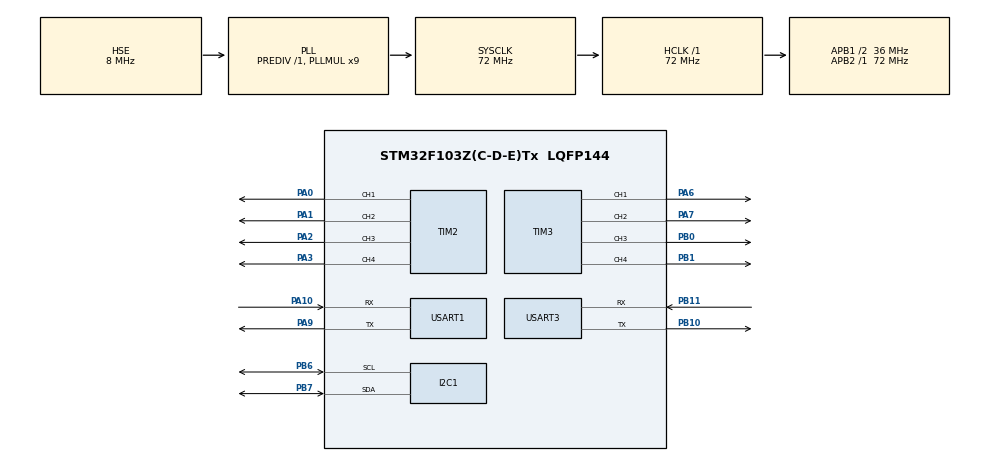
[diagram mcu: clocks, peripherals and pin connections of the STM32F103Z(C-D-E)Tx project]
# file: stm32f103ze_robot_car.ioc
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FREERTOS.Tasks01=defaultTask,0,128,StartDefaultTask,Default,NULL,Dynamic,NULL,NULL
Mcu.Family=STM32F1
Mcu.Name=STM32F103Z(C-D-E)Tx
Mcu.Package=LQFP144
NVIC.PriorityGroup=NVIC_PRIORITYGROUP_4
OSC_IN.Mode=HSE-External-Oscillator
OSC_IN.Signal=RCC_OSC_IN
OSC_OUT.Mode=HSE-External-Oscillator
OSC_OUT.Signal=RCC_OSC_OUT
PA0-WKUP.Signal=S_TIM2_CH1_ETR
PA1.Signal=S_TIM2_CH2
PA10.Mode=Asynchronous
PA10.Signal=USART1_RX
PA2.Signal=S_TIM2_CH3
PA3.Signal=S_TIM2_CH4
PA6.Signal=S_TIM3_CH1
PA7.Signal=S_TIM3_CH2
PA9.Mode=Asynchronous
PA9.Signal=USART1_TX
PB0.Signal=S_TIM3_CH3
PB1.Signal=S_TIM3_CH4
PB10.Mode=Asynchronous
PB10.Signal=USART3_TX
PB11.Mode=Asynchronous
PB11.Signal=USART3_RX
PB6.Mode=I2C
PB6.Signal=I2C1_SCL
PB7.Mode=I2C
PB7.Signal=I2C1_SDA
ProjectManager.HeapSize=0x200
ProjectManager.StackSize=0x400
ProjectManager.TargetToolchain=MDK-ARM V5.32
RCC.AHBFreq_Value=72000000
RCC.APB1CLKDivider=RCC_HCLK_DIV2
RCC.APB1Freq_Value=36000000
RCC.APB1TimFreq_Value=72000000
RCC.APB2Freq_Value=72000000
RCC.APB2TimFreq_Value=72000000
RCC.HCLKFreq_Value=72000000
RCC.PLLMUL=RCC_PLL_MUL9
RCC.PLLSourceVirtual=RCC_PLLSOURCE_HSE
RCC.SYSCLKFreq_VALUE=72000000
RCC.SYSCLKSource=RCC_SYSCLKSOURCE_PLLCLK
RCC.USBFreq_Value=72000000
SH.S_TIM2_CH1_ETR.0=TIM2_CH1,PWM Generation1 CH1
SH.S_TIM2_CH2.0=TIM2_CH2,PWM Generation2 CH2
SH.S_TIM2_CH3.0=TIM2_CH3,PWM Generation3 CH3
SH.S_TIM2_CH4.0=TIM2_CH4,PWM Generation4 CH4
SH.S_TIM3_CH1.0=TIM3_CH1,PWM Generation1 CH1
SH.S_TIM3_CH2.0=TIM3_CH2,PWM Generation2 CH2
SH.S_TIM3_CH3.0=TIM3_CH3,PWM Generation3 CH3
SH.S_TIM3_CH4.0=TIM3_CH4,PWM Generation4 CH4
TIM2.Channel-PWM\ Generation1\ CH1=TIM_CHANNEL_1
TIM2.Channel-PWM\ Generation2\ CH2=TIM_CHANNEL_2
TIM2.Channel-PWM\ Generation3\ CH3=TIM_CHANNEL_3
TIM2.Channel-PWM\ Generation4\ CH4=TIM_CHANNEL_4
TIM3.Channel-PWM\ Generation1\ CH1=TIM_CHANNEL_1
TIM3.Channel-PWM\ Generation2\ CH2=TIM_CHANNEL_2
TIM3.Channel-PWM\ Generation3\ CH3=TIM_CHANNEL_3
TIM3.Channel-PWM\ Generation4\ CH4=TIM_CHANNEL_4
USART1.VirtualMode=VM_ASYNC
USART3.VirtualMode=VM_ASYNC
VP_FREERTOS_VS_CMSIS_V1.Mode=CMSIS_V1
board=custom

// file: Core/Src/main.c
/* USER CODE BEGIN Header */
/**
  ******************************************************************************
  * @file           : main.c
  * @brief          : Main program body for STM32+FreeRTOS+Robot
  ******************************************************************************
  */
/* USER CODE END Header */

#include "main.h"
#include "cmsis_os.h"
#include "i2c_hhc.h"
#include "i2c.h"
#include "tim.h"
#include "usart.h"
#include "gpio.h"

#include "usart3.h"
#include "esp8266.h"
#include "sys.h"
#include "motor.h"
#include "encoder.h"
#include "pid.h"
#include "mpu6050.h"
#include "vl53l0x.h"
#include "oled.h"
#include "pca9685.h"
#include "fast_ros.h"
#include "kinematics.h"
#include <string.h>
#include <stdio.h>
#include <math.h>

/* 宏定义 */
#define M_PI                3.14159265f
#define PID_KP              625.0f
#define PID_KI              125.0f
#define PID_KD              0.0f
#define PID_OUT_LIMIT       100
#define ENCODER_PPR         1942        // 编码器每转脉冲数
#define WHEEL_DIAMETER      0.065f      // 车轮直径(m)
#define WHEEL_BASE          0.175f      // 轮距(m)
#define LASER_POINTS        120         // 激光扫描点数
#define MOTOR_MIN_PWM       20          // 电机最小PWM（防止堵转）
#define PCA9685_ADDR        0x40        // PCA9685默认I2C地址
#define SG90_MAX_ANGLE      180
#define SG90_CHANNEL        0

/* 全局变量 */
float laser_buf0[LASER_POINTS];         // 激光扫描缓存1
float laser_buf1[LASER_POINTS];         // 激光扫描缓存2
volatile uint8_t laser_ready = 0;       // 激光数据就绪标志
float laser_pub_buf[LASER_POINTS];      // 激光发布缓存

PID_TypeDef pid_left, pid_right;        // 左右轮PID控制器
float target_vx = 0, target_wz = 0;     // 目标线速度/角速度
float target_left = 0, target_right = 0;// 左右轮目标速度
int scan_angle = 0, scan_dir = 0;       // 扫描角度/方向
float odom_x=0, odom_y=0, yaw_angle=0;  // 里程计位姿
float pwmL=0, pwmR=0;                   // 电机PWM输出
float dist = 0;                         // 激光测距值
nav_msgs__Odometry odom_msg;            // ROS里程计消息
sensor_msgs__LaserScan scan_msg;        // ROS激光扫描消息

static int last_left_tick=0, last_right_tick=0; // 编码器上一次计数值

/* FreeRTOS任务句柄 */
osThreadId laserTaskHandle;
osThreadId motorPidTaskHandle;
osThreadId odomPubTaskHandle;
osThreadId scanPubTaskHandle;
osThreadId cmdRecvTaskHandle;
osThreadId sysInitTaskHandle;

/* FreeRTOS互斥锁 */
osMutexId laserBufMutexHandle;
osMutexId odomDataMutexHandle;
osMutexDef(laserBufMutex);
osMutexDef(odomDataMutex);

/* 函数声明 */
void SystemClock_Config(void);
void MX_FREERTOS_Init(void);
void laserTask(void const * argument);
void motorPidTask(void const * argument);
void odomPubTask(void const * argument);
void scanPubTask(void const * argument);
void cmdRecvTask(void const * argument);
void sysInitTask(void const * argument);
void laser_step(void);
void update_odom(void);

/* 激光扫描步进函数 */
void laser_step(void)
{
    // 获取激光测距值（转换为米）
    dist = VL53L0X_ReadDistance() / 1000.0f;
    printf("dist = %f mm\r\n", dist);
    // 互斥访问激光缓存
    osMutexWait(laserBufMutexHandle, osWaitForever);
    laser_buf0[scan_angle] =dist;// dist;

    // 角度映射：120点对应0~180°
    uint8_t servo_angle = (scan_angle * SG90_MAX_ANGLE) / (LASER_POINTS - 1);

    // 控制舵机扫描方向
    if(scan_dir == 0){ // 正向扫描（0→119）
        SG90_SetAngle(SG90_CHANNEL, servo_angle);
        scan_angle++;
        if(scan_angle >= LASER_POINTS){
            scan_angle = LASER_POINTS -1;
            scan_dir = 1;
            memcpy(laser_buf1, laser_buf0, sizeof(laser_buf0));
            laser_ready = 1; // 数据就绪
        }
    }else{ // 反向扫描（119→0）
        SG90_SetAngle(SG90_CHANNEL, servo_angle);
        scan_angle--;
        if(scan_angle <= 0){
            scan_angle = 0;
            scan_dir = 0;
            memcpy(laser_buf1, laser_buf0, sizeof(laser_buf0));
            laser_ready = 1; // 数据就绪
        }
    }
    osMutexRelease(laserBufMutexHandle);
}

/* 里程计更新函数 */
void update_odom(void)
{
    //osMutexWait(odomDataMutexHandle, osWaitForever);
    int left_tick = Encoder_GetLeft();
    int right_tick = Encoder_GetRight();

    // 运动学更新位姿
    Kinematic_Update(left_tick - last_left_tick,
                     right_tick - last_right_tick,
                     &odom_x, &odom_y, &yaw_angle);

    last_left_tick = left_tick;
    last_right_tick = right_tick;
    //osMutexRelease(odomDataMutexHandle);
}

/**
  * @brief  应用入口函数
  * @retval int
  */
int main(void)
{
  /* 硬件初始化 */
  HAL_Init();
  SystemClock_Config();
  MX_GPIO_Init();
  MX_I2C1_Init();
  MX_TIM2_Init();
  MX_TIM3_Init();
  MX_USART1_UART_Init();
  MX_USART3_UART_Init();

  printf("\r\n===== SYSTEM INIT START =====\r\n");

  /* ESP8266初始化（无线通信） */
//  ESP8266_Init();
//  HAL_Delay(1500);
//	ESP8266_JoinAP();   HAL_Delay(1500);
//	ESP8266_PrintIP();  // 【关键】在透传前执行，此时还能响应AT指令
//	ESP8266_ConnectUDP(); HAL_Delay(1500);
//	ESP8266_OpenTransparent(); HAL_Delay(2500);

	printf("\r\n===== SYSTEM READY =====\r\n");

	  /* 硬件外设初始化 */
  Motor_Init();       printf("Motor Init OK\r\n");
  Encoder_Init();     printf("Encoder Init OK\r\n");
	//Motor_SetSpeed(90, 90);

  /* 初始化FreeRTOS并启动内核 */
  MX_FREERTOS_Init();
	printf("osKernelStart \r\n");
  osKernelStart();

  /* 防止程序跑飞 */
  while (1)
  {

      if(USART3_RX_FLAG)  // 调试：打印ESP8266接收数据
      {
          USART3_RX_FLAG = 0;
          printf("ESP8266 Recv: %s\r\n", USART3_RX_BUF);
          USART3_ClearBuf();
      }
      osDelay(100);
  }
}

/**
  * @brief  系统时钟配置
  * @retval None
  */
void SystemClock_Config(void)
{
  RCC_OscInitTypeDef RCC_OscInitStruct = {0};
  RCC_ClkInitTypeDef RCC_ClkInitStruct = {0};

  RCC_OscInitStruct.OscillatorType = RCC_OSCILLATORTYPE_HSE;
  RCC_OscInitStruct.HSEState = RCC_HSE_ON;
  RCC_OscInitStruct.HSEPredivValue = RCC_HSE_PREDIV_DIV1;
  RCC_OscInitStruct.HSIState = RCC_HSI_ON;
  RCC_OscInitStruct.PLL.PLLState = RCC_PLL_ON;
  RCC_OscInitStruct.PLL.PLLSource = RCC_PLLSOURCE_HSE;
  RCC_OscInitStruct.PLL.PLLMUL = RCC_PLL_MUL9;
  if (HAL_RCC_OscConfig(&RCC_OscInitStruct) != HAL_OK)
  {
    Error_Handler();
  }

  RCC_ClkInitStruct.ClockType = RCC_CLOCKTYPE_HCLK|RCC_CLOCKTYPE_SYSCLK
                              |RCC_CLOCKTYPE_PCLK1|RCC_CLOCKTYPE_PCLK2;
  RCC_ClkInitStruct.SYSCLKSource = RCC_SYSCLKSOURCE_PLLCLK;
  RCC_ClkInitStruct.AHBCLKDivider = RCC_SYSCLK_DIV1;
  RCC_ClkInitStruct.APB1CLKDivider = RCC_HCLK_DIV2;
  RCC_ClkInitStruct.APB2CLKDivider = RCC_HCLK_DIV1;

  if (HAL_RCC_ClockConfig(&RCC_ClkInitStruct, FLASH_LATENCY_2) != HAL_OK)
  {
    Error_Handler();
  }
}

/* 系统初始化任务（完成后自销毁） */
void sysInitTask(void const * argument)
{
  printf("\r\n===== HARDWARE INIT START =====\r\n");
	  // ===================== 【修复 I2C 失败】=====================
  osDelay(5);  // 等待 TIM6 时基启动 → I2C 正常工作
  // ===========================================================

  // 第一步：创建互斥锁（内核已启动，可正常创建）
  laserBufMutexHandle = osMutexCreate(osMutex(laserBufMutex));
  odomDataMutexHandle = osMutexCreate(osMutex(odomDataMutex));
  I2C_InitMutex(); // I2C互斥锁也在此初始化

  /* 硬件外设初始化 */
//  Motor_Init();       printf("Motor Init OK\r\n");
//  Encoder_Init();     printf("Encoder Init OK\r\n");
  VL53L0X_Init();     printf("VL53L0X Init OK\r\n");
  OLED_Init();        printf("OLED Init OK\r\n");
  PCA9685_Init(PCA9685_ADDR);
  SG90_Channel0_Init();
  fast_ros_init();    printf("Fast-ROS Init OK\r\n");

  /* 运动学+PID初始化 */
  Kinematic_Init(WHEEL_DIAMETER, WHEEL_BASE, ENCODER_PPR);
  PID_Init(&pid_left, PID_KP, PID_KI, PID_KD, -PID_OUT_LIMIT, PID_OUT_LIMIT);
  PID_Init(&pid_right, PID_KP, PID_KI, PID_KD, -PID_OUT_LIMIT, PID_OUT_LIMIT);

  /* ROS激光消息初始化 */
  scan_msg.angle_min = 0.0f;                  // 扫描起始角度（rad）
  scan_msg.angle_max = M_PI / 1.5f;           // 扫描终止角度（120°）
  scan_msg.angle_increment = scan_msg.angle_max / LASER_POINTS; // 角度步长
  scan_msg.range_min = 0.02f;                 // 最小测距（2cm）
  scan_msg.range_max = 2.0f;                  // 最大测距（2m）
  scan_msg.ranges = laser_pub_buf;
  scan_msg.size = LASER_POINTS;

  /* 初始速度（调试用） */
  target_left  = 0.0f;
  target_right = 0.0f;

  printf("\r\n===== ALL HARDWARE INIT OK =====\r\n");

  /* 创建业务任务 */
  osThreadDef(cmdRecvTask,    cmdRecvTask,    osPriorityNormal, 0, 256);
  cmdRecvTaskHandle = osThreadCreate(osThread(cmdRecvTask), NULL);

  osThreadDef(motorPidTask,   motorPidTask,   osPriorityLow,     0, 512);
  motorPidTaskHandle = osThreadCreate(osThread(motorPidTask), NULL);

  osThreadDef(odomPubTask,    odomPubTask,    osPriorityNormal,       0, 256);
  odomPubTaskHandle = osThreadCreate(osThread(odomPubTask), NULL);

  osThreadDef(scanPubTask,    scanPubTask,    osPriorityLow,       0, 512);
  scanPubTaskHandle = osThreadCreate(osThread(scanPubTask), NULL);

  osThreadDef(laserTask,      laserTask,      osPriorityHigh,         0, 512);
  laserTaskHandle = osThreadCreate(osThread(laserTask), NULL);

  printf("===== ALL TASKS CREATED =====\r\n");

  /* 销毁初始化任务 */
  osThreadTerminate(sysInitTaskHandle);
}

/* 激光扫描任务 */
void laserTask_old(void const * argument)
{
  for(;;)
  {
    laser_step();
    osDelay(15); // 扫描周期≈15ms/点 → 120点≈1.8s
  }
}

void laserTask(void const * argument)
{
	TickType_t xLastWakeTime = xTaskGetTickCount();
  const TickType_t xPeriod = pdMS_TO_TICKS(20);  // 20ms周期
  for(;;)
  {
    laser_step();
    // 2. 精确延时20ms，等待下一个脉冲周期
    vTaskDelayUntil(&xLastWakeTime, xPeriod);
  }
}

/* 电机PID控制任务 */
void motorPidTask(void const * argument)
{
	// 初始化上次唤醒时间（只执行一次）
	TickType_t xLastWakeTime = xTaskGetTickCount();

	// 固定 50ms 周期 = 20Hz 发布
	const TickType_t xPeriod = pdMS_TO_TICKS(50);

	for(;;)
	{
		// 等待下一个周期（精准、不漂移）
		vTaskDelayUntil(&xLastWakeTime, xPeriod);

    // 获取左右轮当前速度
    float speedL = Encoder_GetSpeedLeft();
    float speedR = Encoder_GetSpeedRight();

    // PID计算
    pwmL = PID_Calc(&pid_left, speedL, target_left);
    pwmR = PID_Calc(&pid_right, speedR, target_right);

    // 最小PWM保护（防止电机堵转）
    if(pwmL > 0 && pwmL < MOTOR_MIN_PWM) pwmL = MOTOR_MIN_PWM;
    if(pwmL < 0 && pwmL > -MOTOR_MIN_PWM) pwmL = -MOTOR_MIN_PWM;
    if(pwmR > 0 && pwmR < MOTOR_MIN_PWM) pwmR = MOTOR_MIN_PWM;
    if(pwmR < 0 && pwmR > -MOTOR_MIN_PWM) pwmR = -MOTOR_MIN_PWM;

    // 更新里程计+设置电机速度
    update_odom();
    Motor_SetSpeed(pwmL, pwmR);
    Motor_SetSpeed(90, 90);

  }
}

/* 里程计发布任务 */
void odomPubTask(void const * argument)
{
	// 初始化上次唤醒时间（只执行一次）
	TickType_t xLastWakeTime = xTaskGetTickCount();

	// 固定 50ms 周期 = 20Hz 发布
	const TickType_t xPeriod = pdMS_TO_TICKS(50);

	for(;;)
	{
		// 等待下一个周期（精准、不漂移）
		vTaskDelayUntil(&xLastWakeTime, xPeriod);

		// 互斥锁访问里程计数据
		osMutexWait(odomDataMutexHandle, osWaitForever);
		odom_msg.x = odom_x;
		odom_msg.y = odom_y;
		odom_msg.yaw = yaw_angle;
		osMutexRelease(odomDataMutexHandle);

		// 发送ROS消息
		fast_ros_send_odom(&odom_msg);
	}
}

/* 激光数据发布任务 */
void scanPubTask(void const * argument)
{
  for(;;)
  {
    if(laser_ready)
    {
      osMutexWait(laserBufMutexHandle, osWaitForever);
      memcpy(laser_pub_buf, laser_buf1, sizeof(laser_pub_buf));
      osMutexRelease(laserBufMutexHandle);

      // 发送ROS激光消息
      fast_ros_send_scan(&scan_msg);
      laser_ready = 0;
    }
    osDelay(10);
  }
}

/* ROS指令接收任务 */
void cmdRecvTask(void const * argument)
{
  for(;;)
  {
		osDelay(2000); // 高频检测
    if(USART3_RX_FLAG)
    {
      geometry_msgs__Twist twist_recv;
      // 解析ROS速度指令
      fast_ros_parse_cmd_vel(USART3_RX_BUF, USART3_RX_LEN, &twist_recv);
      target_vx = twist_recv.linear_x;
      target_wz = twist_recv.angular_z;

      // 运动学解析为左右轮目标速度
      Kinematic_Analyze(target_vx, target_wz, &target_left, &target_right);

      // 清空接收缓存
      USART3_RX_FLAG = 0;
      USART3_ClearBuf();
    }
    osDelay(2000); // 高频检测
  }
}

/**
  * @brief  错误处理函数
  * @retval None
  */
void Error_Handler(void)
{
  __disable_irq();
  while (1)
  {
    // 错误指示灯（可自行添加）
    HAL_GPIO_TogglePin(GPIOA, GPIO_PIN_5);
    HAL_Delay(500);
  }
}

/* USER CODE BEGIN 4 */

// ===================== 【唯一正确】HAL 时基 = TIM6 =====================
void HAL_TIM_PeriodElapsedCallback_old(TIM_HandleTypeDef *htim)
{
  if (htim->Instance == TIM6)
  {
    HAL_IncTick();
  }
}
// ===================== 【唯一正确】HAL 时基 = TIM6 =====================
void HAL_TIM_PeriodElapsedCallback(TIM_HandleTypeDef *htim)
{
  if (htim->Instance == TIM6)
  {
    HAL_IncTick();
  }

  // 把 TIM1 的中断逻辑 也写在这里面！！！
  if (htim->Instance == TIM1)
  {
    if (scan_running)
      scan_tick++;
  }
}

/* USER CODE END 4 */

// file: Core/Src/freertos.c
/* USER CODE BEGIN Header */
/**
  ******************************************************************************
  * File Name          : freertos.c
  * Description        : Code for freertos applications
  ******************************************************************************
  * @attention
  *
  * Copyright (c) 2026 STMicroelectronics.
  * All rights reserved.
  *
  * This software is licensed under terms that be found in the LICENSE file
  * in the root directory of this software component.
  * If no LICENSE file comes with this software, it is provided AS-IS.
  *
  ******************************************************************************
  */
/* USER CODE END Header */

#include "FreeRTOS.h"
#include "task.h"
#include "main.h"
#include "cmsis_os.h"
#include <stdio.h>
/* USER CODE BEGIN Includes */
#include "main.h"
/* USER CODE END Includes */

/* USER CODE BEGIN PTD */
// ?? �ͷ����������������к������棬ȫ�ֶ���
/* ������ - RTOS v1 */

/* USER CODE END PTD */

/* USER CODE BEGIN Variables */
extern osMutexId laserBufMutexHandle;
extern osMutexId odomDataMutexHandle;
extern osThreadId sysInitTaskHandle;
/* USER CODE END Variables */
osThreadId defaultTaskHandle;

/* USER CODE BEGIN FunctionPrototypes */
extern void sysInitTask(void const *argument);
/* USER CODE END FunctionPrototypes */

void StartDefaultTask(void const * argument);

void MX_FREERTOS_Init(void); /* (MISRA C 2004 rule 8.1) */

/* GetIdleTaskMemory prototype (linked to static allocation support) */
void vApplicationGetIdleTaskMemory( StaticTask_t **ppxIdleTaskTCBBuffer, StackType_t **ppxIdleTaskStackBuffer, uint32_t *pulIdleTaskStackSize );

/* USER CODE BEGIN GET_IDLE_TASK_MEMORY */
static StaticTask_t xIdleTaskTCBBuffer;
static StackType_t xIdleStack[configMINIMAL_STACK_SIZE];

void vApplicationGetIdleTaskMemory( StaticTask_t **ppxIdleTaskTCBBuffer, StackType_t **ppxIdleTaskStackBuffer, uint32_t *pulIdleTaskStackSize )
{
  *ppxIdleTaskTCBBuffer = &xIdleTaskTCBBuffer;
  *ppxIdleTaskStackBuffer = &xIdleStack[0];
  *pulIdleTaskStackSize = configMINIMAL_STACK_SIZE;
  /* place for user code */
}
/* USER CODE END GET_IDLE_TASK_MEMORY */

void MX_FREERTOS_Init(void) {

  /* USER CODE BEGIN RTOS_MUTEX */
  printf("Mutex create start!\r\n");

  // ? ��ȷд�����ޱ���

//  if(laserBufMutexHandle == NULL || odomDataMutexHandle == NULL){
//    printf("Mutex create failed!\r\n");
//    //while(1);
//  }
//  printf("Mutex create success!\r\n");
  /* USER CODE END RTOS_MUTEX */

  /* USER CODE BEGIN RTOS_THREADS */
  osThreadDef(sysInitTask, sysInitTask, osPriorityHigh, 0, 1024);
  sysInitTaskHandle = osThreadCreate(osThread(sysInitTask), NULL);

  if(sysInitTaskHandle == NULL){
    printf("sysInitTask create failed!\r\n");
    //while(1);
  }else{
    printf("sysInitTask create success!\r\n");
  }
  /* USER CODE END RTOS_THREADS */
}

/* USER CODE END Header_StartDefaultTask */
void StartDefaultTask(void const * argument)
{
  /* USER CODE BEGIN StartDefaultTask */

  // Ĭ������ֱ��ɾ���Լ�����ռ����Դ
  osThreadTerminate(defaultTaskHandle);

  /* Infinite loop */
  for(;;)
  {
    osDelay(1);
  }
  /* USER CODE END StartDefaultTask */
}
